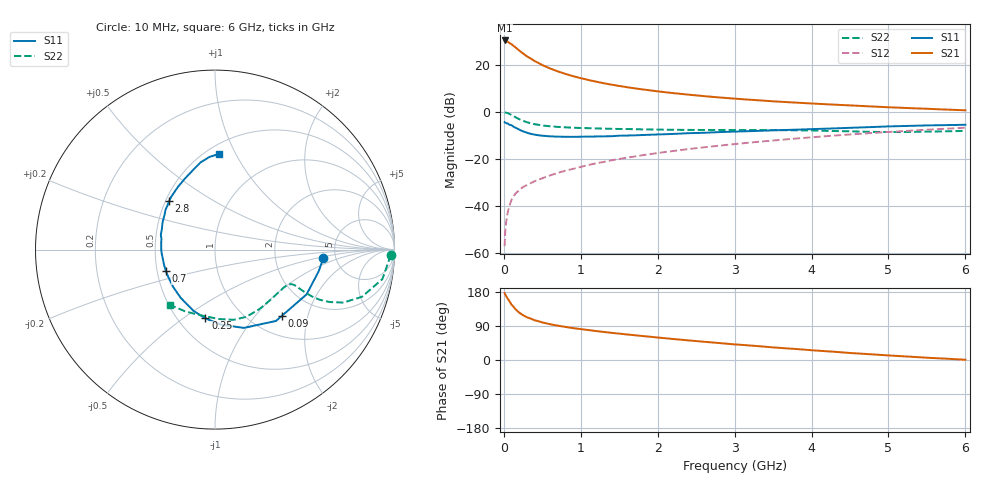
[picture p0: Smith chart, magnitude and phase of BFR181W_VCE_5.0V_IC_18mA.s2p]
! Infineon Technologies  Discrete & RF Semiconductors
! BFR181W
! VCE =  5.0 V,  IC =  18 mA
! Common Emitter S-Parameters:  Jan 2017
# GHz  S  MA  R  50
!  f  S11  S21  S12  S22
! GHz  MAG  ANG  MAG  ANG  MAG  ANG  MAG  ANG
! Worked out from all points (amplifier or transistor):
!   77 points, 10 MHz to 6 GHz, reference 50 ohm
!   highest |S21| = 30.4 dB at 10 MHz (marker M1)
!   |S21| within 3 dB of that: start of sweep to 153.5 MHz
!   unconditionally stable (mu >= 1): 696.9 MHz to 2.608 GHz
!   at 130 MHz: K = 0.40, MSG = 31.8 dB, |S12| = -35.7 dB
!   at 2.2 GHz: K = 1.04, MAG = 11.1 dB, |S12| = -16.6 dB
!   at 6 GHz: K = 0.83, MSG = 3.7 dB, |S12| = -6.7 dB
!   S11 on the Smith chart (normalised r, x): 10 MHz: 3.98, -0.59; 90 MHz: 1.37, -1.39; 250 MHz: 0.68, -0.61; 700 MHz: 0.56, -0.14; 2.8 GHz: 0.52, +0.33; 6 GHz: 0.58, +0.86
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0.01  0.6059 -4.4  33.09 176.5  0.0014 84.8  0.9794 -1.7
0.02  0.5904 -11.8  32.45 172.2  0.0032 100.5  0.9699 -3.7
0.05  0.5679 -26.1  31.18 161.8  0.0072 79.3  0.947 -10.0
0.09  0.5245 -44.6  28.1 149.5  0.0122 72.9  0.8772 -16.0
0.1  0.5229 -49.5  27.55 146.1  0.0135 72.0  0.8614 -17.7
0.15  0.4651 -69.7  23.68 134.2  0.0183 67.6  0.7745 -22.4
0.2  0.4212 -84.8  20.21 125.0  0.0217 65.8  0.7016 -24.6
0.25  0.387 -98.0  17.47 118.1  0.0255 63.6  0.646 -25.6
0.3  0.3621 -109.1  15.22 112.7  0.0278 63.5  0.6037 -25.8
0.4  0.3296 -125.6  12.09 104.8  0.0336 64.8  0.5488 -25.3
0.5  0.3124 -138.3  9.916 99.2  0.0389 66.5  0.5161 -24.7
0.6  0.3027 -148.5  8.413 94.5  0.0447 67.8  0.4952 -24.2
0.7  0.2985 -156.7  7.289 90.7  0.0504 69.5  0.4808 -24.1
0.9  0.2952 -169.8  5.756 84.2  0.0615 70.8  0.4623 -24.6
1.1  0.2994 -179.8  4.772 79.0  0.0745 72.3  0.4516 -25.8
1.5  0.3124 165.0  3.564 69.6  0.0997 72.6  0.4346 -29.9
2.1  0.336 148.2  2.625 57.4  0.1407 71.3  0.4195 -39.2
2.8  0.3729 133.3  2.033 44.7  0.1916 68.2  0.4135 -52.4
3.1  0.3861 127.7  1.867 39.8  0.2151 66.3  0.4117 -58.0
4.1  0.4361 111.1  1.483 24.4  0.2973 58.9  0.3998 -77.4
5.1  0.4969 98.2  1.238 10.9  0.3834 49.7  0.3742 -103.7
6  0.5336 87.6  1.083 0.7  0.4617 40.5  0.3967 -128.9
